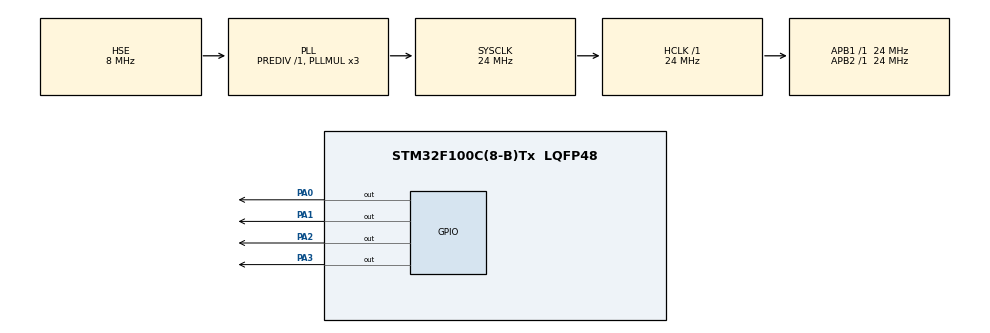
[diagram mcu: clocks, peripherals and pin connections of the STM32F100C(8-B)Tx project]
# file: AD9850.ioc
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Mcu.Family=STM32F1
Mcu.Name=STM32F100C(8-B)Tx
Mcu.Package=LQFP48
NVIC.PriorityGroup=NVIC_PRIORITYGROUP_4
PA0-WKUP.GPIO_ModeDefaultOutputPP=GPIO_MODE_OUTPUT_PP
PA0-WKUP.GPIO_Speed=GPIO_SPEED_FREQ_HIGH
PA0-WKUP.PinState=GPIO_PIN_SET
PA0-WKUP.Signal=GPIO_Output
PA1.GPIO_ModeDefaultOutputPP=GPIO_MODE_OUTPUT_PP
PA1.GPIO_Speed=GPIO_SPEED_FREQ_HIGH
PA1.PinState=GPIO_PIN_SET
PA1.Signal=GPIO_Output
PA13.Mode=Serial_Wire
PA13.Signal=SYS_JTMS-SWDIO
PA14.Mode=Serial_Wire
PA14.Signal=SYS_JTCK-SWCLK
PA2.GPIO_ModeDefaultOutputPP=GPIO_MODE_OUTPUT_PP
PA2.GPIO_Speed=GPIO_SPEED_FREQ_HIGH
PA2.PinState=GPIO_PIN_SET
PA2.Signal=GPIO_Output
PA3.GPIO_ModeDefaultOutputPP=GPIO_MODE_OUTPUT_PP
PA3.GPIO_Speed=GPIO_SPEED_FREQ_HIGH
PA3.PinState=GPIO_PIN_SET
PA3.Signal=GPIO_Output
PD0-OSC_IN.Mode=HSE-External-Oscillator
PD0-OSC_IN.Signal=RCC_OSC_IN
PD1-OSC_OUT.Mode=HSE-External-Oscillator
PD1-OSC_OUT.Signal=RCC_OSC_OUT
ProjectManager.HeapSize=0x200
ProjectManager.StackSize=0x400
ProjectManager.TargetToolchain=EWARM
RCC.AHBFreq_Value=24000000
RCC.APB1Freq_Value=24000000
RCC.APB1TimFreq_Value=24000000
RCC.APB2Freq_Value=24000000
RCC.APB2TimFreq_Value=24000000
RCC.HCLKFreq_Value=24000000
RCC.PLLMUL=RCC_PLL_MUL3
RCC.PLLSource=RCC_PLLSOURCE_HSE
RCC.SYSCLKFreq_VALUE=24000000
RCC.SYSCLKSource=RCC_SYSCLKSOURCE_PLLCLK
board=AD9850

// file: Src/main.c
/**
 ******************************************************************************
 * File Name          : main.c
 * Description        : Main program body
 ******************************************************************************
 *
 * COPYRIGHT(c) 2016 STMicroelectronics
 *
 * Redistribution and use in source and binary forms, with or without modification,
 * are permitted provided that the following conditions are met:
 *   1. Redistributions of source code must retain the above copyright notice,
 *      this list of conditions and the following disclaimer.
 *   2. Redistributions in binary form must reproduce the above copyright notice,
 *      this list of conditions and the following disclaimer in the documentation
 *      and/or other materials provided with the distribution.
 *   3. Neither the name of STMicroelectronics nor the names of its contributors
 *      may be used to endorse or promote products derived from this software
 *      without specific prior written permission.
 *
 * THIS SOFTWARE IS PROVIDED BY THE COPYRIGHT HOLDERS AND CONTRIBUTORS "AS IS"
 * AND ANY EXPRESS OR IMPLIED WARRANTIES, INCLUDING, BUT NOT LIMITED TO, THE
 * IMPLIED WARRANTIES OF MERCHANTABILITY AND FITNESS FOR A PARTICULAR PURPOSE ARE
 * DISCLAIMED. IN NO EVENT SHALL THE COPYRIGHT HOLDER OR CONTRIBUTORS BE LIABLE
 * FOR ANY DIRECT, INDIRECT, INCIDENTAL, SPECIAL, EXEMPLARY, OR CONSEQUENTIAL
 * DAMAGES (INCLUDING, BUT NOT LIMITED TO, PROCUREMENT OF SUBSTITUTE GOODS OR
 * SERVICES; LOSS OF USE, DATA, OR PROFITS; OR BUSINESS INTERRUPTION) HOWEVER
 * CAUSED AND ON ANY THEORY OF LIABILITY, WHETHER IN CONTRACT, STRICT LIABILITY,
 * OR TORT (INCLUDING NEGLIGENCE OR OTHERWISE) ARISING IN ANY WAY OUT OF THE USE
 * OF THIS SOFTWARE, EVEN IF ADVISED OF THE POSSIBILITY OF SUCH DAMAGE.
 *
 ******************************************************************************
 */
#include "main.h"
#include "stm32f1xx_hal.h"

/* Define for AD9850 Connection */

#define		WCLK_PORT			GPIOA
#define		WCLK_PIN			GPIO_PIN_0

#define		FQUP_PORT			GPIOA
#define		FQUP_PIN			GPIO_PIN_1

#define		RESET_PORT			GPIOA
#define		RESET_PIN			GPIO_PIN_2

#define		D7_PORT				GPIOA
#define		D7_PIN				GPIO_PIN_3

#define		FREQUENCY_OUT		1.44

/* Note: F_CPU=24 MHz -> Tcpu= 41.6 ns*/

/* USER CODE BEGIN PV */
/* Private variables ---------------------------------------------------------*/

/* USER CODE END PV */

void SystemClock_Config(void);
void Error_Handler(void);
static void MX_GPIO_Init(void);

/* USER CODE BEGIN PFP */
/* Private function prototypes -----------------------------------------------*/
void ad9850_reset(void);
void ad9850_set_frequency(uint8_t w0, double frequency_in_MHz);

/* USER CODE END PFP */

/* USER CODE BEGIN 0 */
void ad9850_reset(void)
{
        /* Init */
        HAL_GPIO_WritePin(RESET_PORT,RESET_PIN,GPIO_PIN_RESET);
        HAL_GPIO_WritePin(FQUP_PORT,FQUP_PIN,GPIO_PIN_RESET);
        HAL_GPIO_WritePin(WCLK_PORT,WCLK_PIN,GPIO_PIN_RESET);
        HAL_GPIO_WritePin(D7_PORT,D7_PIN,GPIO_PIN_RESET);

	HAL_GPIO_WritePin(WCLK_PORT,WCLK_PIN,GPIO_PIN_RESET);
	HAL_GPIO_WritePin(FQUP_PORT,FQUP_PIN,GPIO_PIN_RESET);
	__no_operation();

	HAL_GPIO_WritePin(RESET_PORT,RESET_PIN,GPIO_PIN_RESET);
	HAL_GPIO_WritePin(RESET_PORT,RESET_PIN,GPIO_PIN_SET);
        HAL_GPIO_WritePin(RESET_PORT,RESET_PIN,GPIO_PIN_RESET);
	__no_operation();

	HAL_GPIO_WritePin(WCLK_PORT,WCLK_PIN,GPIO_PIN_RESET);
        HAL_GPIO_WritePin(WCLK_PORT,WCLK_PIN,GPIO_PIN_SET);
        HAL_GPIO_WritePin(WCLK_PORT,WCLK_PIN,GPIO_PIN_RESET);
	__no_operation();

	__no_operation();
	__no_operation();

	HAL_GPIO_WritePin(FQUP_PORT,FQUP_PIN,GPIO_PIN_RESET);
	HAL_GPIO_WritePin(FQUP_PORT,FQUP_PIN,GPIO_PIN_SET);
        HAL_GPIO_WritePin(FQUP_PORT,FQUP_PIN,GPIO_PIN_RESET);
	__no_operation();

}

void ad9850_set_frequency(uint8_t w0, double frequency_in_MHz)
{
	uint8_t i,w;
	uint64_t y;
	double x;

	x=4294967296/125.0;
	//frequency_in_MHz=frequency_in_MHz/1000000;
	y=(uint64_t)(frequency_in_MHz*x);

	//write w4
	w=(uint8_t)(y);
	for(i=0;i<8;i++)
	{
		if((w>>i)&0x01)
		{
			HAL_GPIO_WritePin(D7_PORT,D7_PIN,GPIO_PIN_SET);
		}
		else
		{
			HAL_GPIO_WritePin(D7_PORT,D7_PIN,GPIO_PIN_RESET);
		}
		HAL_GPIO_WritePin(WCLK_PORT,WCLK_PIN,GPIO_PIN_SET);
		HAL_GPIO_WritePin(WCLK_PORT,WCLK_PIN,GPIO_PIN_RESET);

	}

	 //write w3
	w=(uint8_t)(y>>8);
	for(i=0;i<8;i++)
	{
		if((w>>i)&0x01)
		{
			HAL_GPIO_WritePin(D7_PORT,D7_PIN,GPIO_PIN_SET);
		}
		else
		{
			HAL_GPIO_WritePin(D7_PORT,D7_PIN,GPIO_PIN_RESET);
		}
		HAL_GPIO_WritePin(WCLK_PORT,WCLK_PIN,GPIO_PIN_SET);
		HAL_GPIO_WritePin(WCLK_PORT,WCLK_PIN,GPIO_PIN_RESET);

	}

	//write w2
	w=(uint8_t)(y>>16);
	for(i=0;i<8;i++)
	{
		if((w>>i)&0x01)
		{
			HAL_GPIO_WritePin(D7_PORT,D7_PIN,GPIO_PIN_SET);
		}
		else
		{
			HAL_GPIO_WritePin(D7_PORT,D7_PIN,GPIO_PIN_RESET);
		}
		HAL_GPIO_WritePin(WCLK_PORT,WCLK_PIN,GPIO_PIN_SET);
		HAL_GPIO_WritePin(WCLK_PORT,WCLK_PIN,GPIO_PIN_RESET);

	}

	//write w1
	w=(uint8_t)(y>>24);
	for(i=0;i<8;i++)
	{
		if((w>>i)&0x01)
		{
			HAL_GPIO_WritePin(D7_PORT,D7_PIN,GPIO_PIN_SET);
		}
		else
		{
			HAL_GPIO_WritePin(D7_PORT,D7_PIN,GPIO_PIN_RESET);
		}
		HAL_GPIO_WritePin(WCLK_PORT,WCLK_PIN,GPIO_PIN_SET);
		HAL_GPIO_WritePin(WCLK_PORT,WCLK_PIN,GPIO_PIN_RESET);

	}

	w=w0;
	for(i=0;i<8;i++)
	{
		if((w>>i)&0x01)
		{
			HAL_GPIO_WritePin(D7_PORT,D7_PIN,GPIO_PIN_SET);
		}
		else
		{
			HAL_GPIO_WritePin(D7_PORT,D7_PIN,GPIO_PIN_RESET);
		}
		HAL_GPIO_WritePin(WCLK_PORT,WCLK_PIN,GPIO_PIN_SET);
		HAL_GPIO_WritePin(WCLK_PORT,WCLK_PIN,GPIO_PIN_RESET);

	}

	HAL_GPIO_WritePin(FQUP_PORT,FQUP_PIN,GPIO_PIN_SET);
	HAL_GPIO_WritePin(FQUP_PORT,FQUP_PIN,GPIO_PIN_RESET);

}
/* USER CODE END 0 */

int main(void)
{

	/* MCU Configuration----------------------------------------------------------*/

	/* Reset of all peripherals, Initializes the Flash interface and the Systick. */
	HAL_Init();

	/* Configure the system clock */
	SystemClock_Config();

	/* Initialize all configured peripherals */
	MX_GPIO_Init();

	/* USER CODE BEGIN 2 */
	ad9850_reset();
	ad9850_set_frequency(0x00,FREQUENCY_OUT);
	/* USER CODE END 2 */

	/* Infinite loop */
	while (1)
	{

	}

}

/** System Clock Configuration
 */
void SystemClock_Config(void)
{

	RCC_OscInitTypeDef RCC_OscInitStruct;
	RCC_ClkInitTypeDef RCC_ClkInitStruct;

	/**Initializes the CPU, AHB and APB busses clocks
	 */
	RCC_OscInitStruct.OscillatorType = RCC_OSCILLATORTYPE_HSE;
	RCC_OscInitStruct.HSEState = RCC_HSE_ON;
	RCC_OscInitStruct.HSEPredivValue = RCC_HSE_PREDIV_DIV1;
	RCC_OscInitStruct.PLL.PLLState = RCC_PLL_ON;
	RCC_OscInitStruct.PLL.PLLSource = RCC_PLLSOURCE_HSE;
	RCC_OscInitStruct.PLL.PLLMUL = RCC_PLL_MUL3;
	if (HAL_RCC_OscConfig(&RCC_OscInitStruct) != HAL_OK)
	{
		Error_Handler();
	}

	/**Initializes the CPU, AHB and APB busses clocks
	 */
	RCC_ClkInitStruct.ClockType = RCC_CLOCKTYPE_HCLK|RCC_CLOCKTYPE_SYSCLK
			|RCC_CLOCKTYPE_PCLK1|RCC_CLOCKTYPE_PCLK2;
	RCC_ClkInitStruct.SYSCLKSource = RCC_SYSCLKSOURCE_PLLCLK;
	RCC_ClkInitStruct.AHBCLKDivider = RCC_SYSCLK_DIV1;
	RCC_ClkInitStruct.APB1CLKDivider = RCC_HCLK_DIV1;
	RCC_ClkInitStruct.APB2CLKDivider = RCC_HCLK_DIV1;

	if (HAL_RCC_ClockConfig(&RCC_ClkInitStruct, FLASH_LATENCY_0) != HAL_OK)
	{
		Error_Handler();
	}

	/**Configure the Systick interrupt time
	 */
	HAL_SYSTICK_Config(HAL_RCC_GetHCLKFreq()/1000);

	/**Configure the Systick
	 */
	HAL_SYSTICK_CLKSourceConfig(SYSTICK_CLKSOURCE_HCLK);

	/* SysTick_IRQn interrupt configuration */
	HAL_NVIC_SetPriority(SysTick_IRQn, 0, 0);
}

/** Configure pins as
 * Analog
 * Input
 * Output
 * EVENT_OUT
 * EXTI
 */
static void MX_GPIO_Init(void)
{

	GPIO_InitTypeDef GPIO_InitStruct;

	/* GPIO Ports Clock Enable */
	__HAL_RCC_GPIOD_CLK_ENABLE();
	__HAL_RCC_GPIOA_CLK_ENABLE();

	/*Configure GPIO pin Output Level */
	HAL_GPIO_WritePin(GPIOA, GPIO_PIN_0|GPIO_PIN_1|GPIO_PIN_2|GPIO_PIN_3, GPIO_PIN_SET);

	/*Configure GPIO pins : PA0 PA1 PA2 PA3 */
	GPIO_InitStruct.Pin = GPIO_PIN_0|GPIO_PIN_1|GPIO_PIN_2|GPIO_PIN_3;
	GPIO_InitStruct.Mode = GPIO_MODE_OUTPUT_PP;
	GPIO_InitStruct.Speed = GPIO_SPEED_FREQ_HIGH;
	HAL_GPIO_Init(GPIOA, &GPIO_InitStruct);

}

void Error_Handler(void)
{
	while(1)
	{
	}
}

/************************ (C) COPYRIGHT STMicroelectronics *****END OF FILE****/
